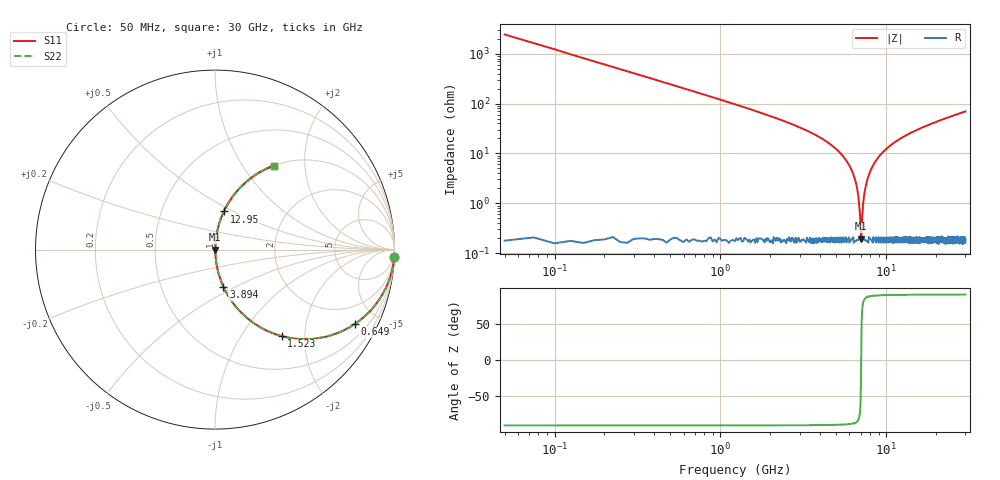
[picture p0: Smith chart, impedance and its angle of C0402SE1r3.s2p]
!	AVX Thin Film Operation 	Date: April 2014
!	Description: Accu-P® Series, Thin Film  SMD RF Capacitor
!	Part Number: 04021J1R3PBSTR
# MHZ S MA R 50
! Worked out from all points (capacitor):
!   1201 points, 50 MHz to 30 GHz, reference 50 ohm
!   read as one part in series: C = 1.3 pF near 199.8 MHz
!   lowest |Z| = 194 mohm at 7.063 GHz (marker M1)
!   series resonance near 7.059 GHz, so ESL is about 390 pH
!   S11 on the Smith chart (normalised r, x): 50 MHz: 1, -49; 649 MHz: 1.00, -3.74; 1.523 GHz: 1.00, -1.53; 3.894 GHz: 1.00, -0.44; 12.95 GHz: 1.00, +0.45; 30 GHz: 1.00, +1.39
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50  0.999 -2.3  0.041 87.7  0.041 87.7  0.999 -2.3
324.542  0.966 -14.9  0.257 75.1  0.257 75.1  0.966 -14.9
649  0.882 -28.1  0.471 61.8  0.471 61.8  0.882 -28.1
1522.542  0.608 -52.4  0.793 37.4  0.793 37.4  0.608 -52.4
2470.958  0.398 -66.3  0.916 23.5  0.916 23.5  0.398 -66.3
3893.583  0.213 -77.2  0.975 12.3  0.975 12.3  0.213 -77.2
5041.667  0.118 -82.3  0.991 6.8  0.991 6.8  0.118 -82.3
5890.25  0.063 -84.7  0.996 3.6  0.996 3.6  0.063 -84.7
6439.333  0.032 -84.9  0.998 1.8  0.998 1.8  0.032 -84.9
6738.833  0.016 -82.5  0.998 0.9  0.998 0.9  0.016 -82.5
6963.458  0.005079 -68.4  0.998 0.3  0.998 0.3  0.005079 -68.4
7063.292  0.001857 6.1  0.998 -0.0  0.998 -0.0  0.001857 6.1
7163.125  0.005383 69.6  0.998 -0.3  0.998 -0.3  0.005383 69.6
7437.667  0.018 83.1  0.998 -1.0  0.998 -1.0  0.018 83.1
7886.917  0.038 85.0  0.997 -2.2  0.997 -2.2  0.038 85.0
8735.5  0.074 84.3  0.995 -4.2  0.995 -4.2  0.074 84.3
10058.29  0.124 82.0  0.99 -7.1  0.99 -7.1  0.124 82.0
12953.46  0.218 76.9  0.974 -12.6  0.974 -12.6  0.218 76.9
15025  0.276 73.6  0.959 -16.0  0.959 -16.0  0.276 73.6
20016.67  0.395 66.5  0.917 -23.3  0.917 -23.3  0.395 66.5
25033.29  0.492 60.3  0.869 -29.5  0.869 -29.5  0.492 60.3
30000  0.571 55.1  0.82 -34.8  0.82 -34.8  0.571 55.1
